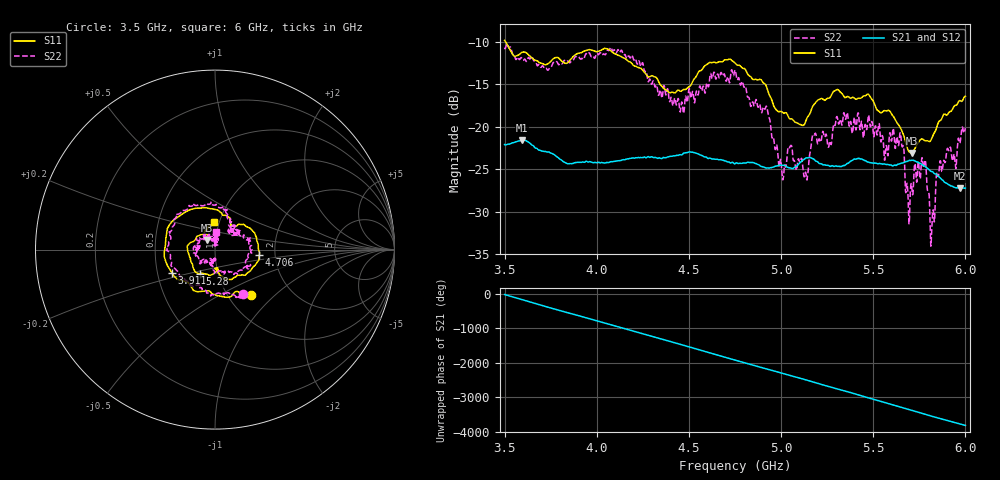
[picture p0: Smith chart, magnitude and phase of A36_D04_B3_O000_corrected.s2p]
! Created with skrf 1.9.0 (http://scikit-rf.org).
# Hz S RI R 50.0
!freq ReS11 ImS11 ReS21 ImS21 ReS12 ImS12 ReS22 ImS22
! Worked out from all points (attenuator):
!   1601 points, 3.5 GHz to 6 GHz, reference 50 ohm
!   highest |S21| = -21.54 dB at 3.594 GHz (marker M1); lowest = -27.2 dB at 5.972 GHz (marker M2)
!   lowest |S11| = -23.1 dB at 5.709 GHz (marker M3), VSWR 1.15, Z = 45.5 + j4.95 ohm
!   |S11| at or under -10 dB: 3.506 GHz to end of sweep
!   |S22| runs from -34.1 to -10.2 dB; largest |S21 - S12| = 0.0011
!   S11 on the Smith chart (normalised r, x): 3.5 GHz: 1.27, -0.72; 3.911 GHz: 0.60, -0.17; 4.706 GHz: 1.65, -0.11; 5.28 GHz: 0.81, -0.22; 6 GHz: 0.95, +0.29
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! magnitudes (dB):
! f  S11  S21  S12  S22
! 3.5 GHz  -9.8  -22.1  -22.1  -10.7
! 3.594 GHz  -11.2  -21.5  -21.5  -11.9
! 3.911 GHz  -11.3  -24.2  -24.1  -12.0
! 3.917 GHz  -11.3  -24.2  -24.1  -12.0
! 4.334 GHz  -14.6  -23.7  -23.6  -16.3
! 4.706 GHz  -12.1  -24.1  -24.0  -14.4
! 4.75 GHz  -12.5  -24.3  -24.2  -13.3
! 4.925 GHz  -15.5  -24.8  -24.8  -17.9
! 5.003 GHz  -18.2  -24.5  -24.5  -25.0
! 5.048 GHz  -19.1  -24.8  -24.8  -22.3
! 5.134 GHz  -19.3  -23.7  -23.6  -25.4
! 5.167 GHz  -17.8  -23.7  -23.6  -21.4
! 5.28 GHz  -16.0  -24.6  -24.5  -20.6
! 5.584 GHz  -18.1  -24.5  -24.4  -22.0
! 5.653 GHz  -20.3  -24.3  -24.2  -21.8
! 5.686 GHz  -22.6  -24.0  -24.0  -27.0
! 5.709 GHz  -23.1  -23.9  -23.9  -27.2
! 5.773 GHz  -21.5  -24.6  -24.5  -24.8
! 5.822 GHz  -21.1  -25.3  -25.2  -30.2
! 5.855 GHz  -19.4  -25.8  -25.8  -25.7
! 5.972 GHz  -16.9  -27.2  -27.1  -21.8
! 6 GHz  -16.4  -27.2  -27.1  -20.2
